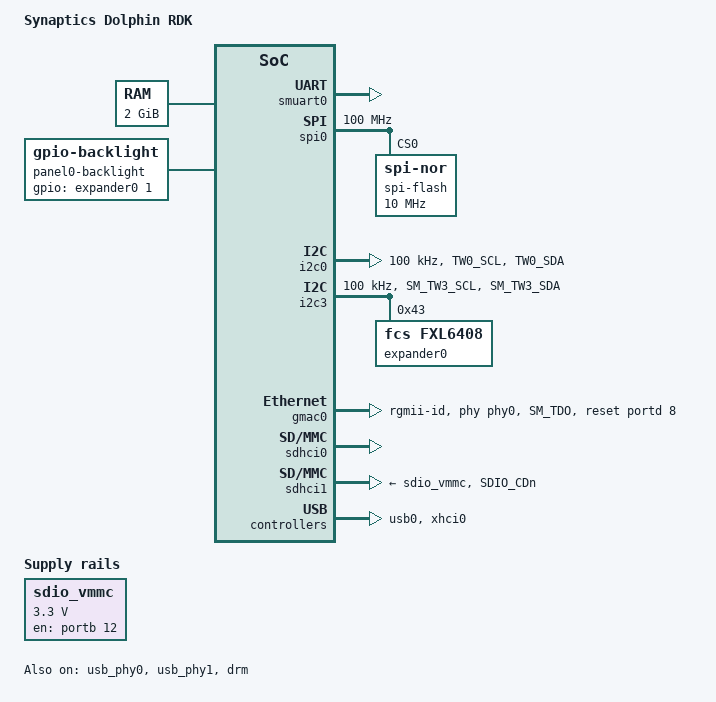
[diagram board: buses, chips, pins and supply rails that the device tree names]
// SPDX-License-Identifier: GPL-2.0+
/*
 * Copyright (C) 2016~2023 Synaptics Incorporated. All rights reserved.
 *
 * This program is free software; you can redistribute it and/or modify
 * it under the terms of the GNU General Public License version 2 or
 * later as published by the Free Software Foundation.
 *
 * INFORMATION CONTAINED IN THIS DOCUMENT IS PROVIDED "AS-IS," AND
 * SYNAPTICS EXPRESSLY DISCLAIMS ALL EXPRESS AND IMPLIED WARRANTIES,
 * INCLUDING ANY IMPLIED WARRANTIES OF MERCHANTABILITY AND FITNESS FOR
 * A PARTICULAR PURPOSE, AND ANY WARRANTIES OF NON-INFRINGEMENT OF ANY
 * INTELLECTUAL PROPERTY RIGHTS. IN NO EVENT SHALL SYNAPTICS BE LIABLE
 * FOR ANY DIRECT, INDIRECT, INCIDENTAL, SPECIAL, PUNITIVE, OR
 * CONSEQUENTIAL DAMAGES ARISING OUT OF OR IN CONNECTION WITH THE USE
 * OF THE INFORMATION CONTAINED IN THIS DOCUMENT, HOWEVER CAUSED AND
 * BASED ON ANY THEORY OF LIABILITY, WHETHER IN AN ACTION OF CONTRACT,
 * NEGLIGENCE OR OTHER TORTIOUS ACTION, AND EVEN IF SYNAPTICS WAS
 * ADVISED OF THE POSSIBILITY OF SUCH DAMAGE. IF A TRIBUNAL OF
 * COMPETENT JURISDICTION DOES NOT PERMIT THE DISCLAIMER OF DIRECT
 * DAMAGES OR ANY OTHER DAMAGES, SYNAPTICS' TOTAL CUMULATIVE LIABILITY
 * TO ANY PARTY SHALL NOT EXCEED ONE HUNDRED U.S. DOLLARS.
 */

/dts-v1/;

#include "dolphin.dtsi"
#include <dt-bindings/gpio/gpio.h>

/ {
	model = "Synaptics Dolphin RDK";
	compatible = "Synaptics,dolphin", "Synaptics,asserial";

	memory {
		device_type = "memory";
		reg = <0 0 0 0x80000000>;
	};

	chosen {
		stdout-path = &smuart0;
	};

	regulators {
		compatible = "simple-bus";
		#address-cells = <1>;
		#size-cells = <0>;

		sdio_vmmc: sdio_vmmc {
			pinctrl-0 = <&sdio_vmmc_pmux>;
			pinctrl-names = "default";
			compatible = "regulator-fixed";
			regulator-min-microvolt = <3300000>;
			regulator-max-microvolt = <3300000>;
			regulator-name = "vmmc_sdio";
			enable-active-high;
			gpio = <&portb 12 GPIO_ACTIVE_HIGH>;
		};
	};

	firmware {
		optee {
			compatible = "linaro,optee-tz";
			method = "smc";
		};
	};

	panel0-backlight {
		compatible = "gpio-backlight";
		gpios = <&expander0 1 GPIO_ACTIVE_HIGH>;
		status = "okay";
	};
};

&sysmgr_pinctrl {
	sm_i2c_tw3_pmux: sm_i2c_tw3_pmux {
		groups = "SM_TW3_SCL", "SM_TW3_SDA";
		function = "tw3";
	};

	gmac_reset_pmux: gmac_reset_pmux {
		groups = "SM_TDO";
		function = "gpio";
	};
};

&pinctrl {
	emmc_pmux: emmc-pmux {
		groups = "NAND_IO0", "NAND_IO1", "NAND_IO2", "NAND_IO3", "NAND_IO4", "NAND_IO5", "ND_IO6", "NAND_IO7", "NAND_ALE", "NAND_CLE", "NAND_WPn";
		function = "emmc";
	};

	sdio_pmux: sdio_pmux{
		groups = "SDIO_CDn";
		function = "sdio";
	};

	sdio_vmmc_pmux: sdio_vmmc_pmux{
		groups = "SDIO_WP";
		function = "gpio";
	};

	i2c0_pmux: i2c0-pmux {
		groups = "TW0_SCL", "TW0_SDA";
		function = "tw0";
	};

	hdmitx5v_pmux: hdmitx5v-pmux {
		groups = "USB2_DRV_VBUS";
		function = "gpio";
	};
};

&CPU_SLEEP_0 {
	status = "disabled";
};

&smuart0 {
	status = "okay";
};

&spi0 {
	status = "okay";
	max-write-size = <128>;
	clock-frequency = <100000000>;
	spi-flash@0 {
		#address-cells = <1>;
		#size-cells = <1>;
		compatible = "jedec,spi-nor";
		reg = <0>;
		memory-map = <0x0 0xf0000000 0x0 0x4000000>;
		spi-max-frequency = <10000000>;
	};
};

&phy0 {
	reg = <0>;
};

&i2c0 {
	status = "okay";
	pinctrl-names = "default";
	pinctrl-0 = <&i2c0_pmux>;
	clock-frequency = <100000>;
	i2c-sda-hold-time-ns = <449>;
	i2c-scl-rising-time-ns = <120>;
	i2c-scl-falling-time-ns = <20>;

};

&i2c3 {
	status = "okay";
	pinctrl-names = "default";
	pinctrl-0 = <&sm_i2c_tw3_pmux>;
	clock-frequency = <100000>;
	i2c-sda-hold-time-ns = <449>;
	i2c-scl-rising-time-ns = <120>;
	i2c-scl-falling-time-ns = <20>;

	expander0: gpio@43 {
		compatible = "fcs,fxl6408";
		reg = <0x43>;
		gpio-controller;
		#gpio-cells = <2>;
	};
};

&gmac0 {
	status = "okay";
	max-speed = <1000>;
	phy-mode = "rgmii-id";
	phy-handle = <&phy0>;
	phy = <&phy0>;
	pinctrl-names = "default";
	pinctrl-0 = <&gmac_reset_pmux>;
	snps,reset-gpio = <&portd 8 GPIO_ACTIVE_HIGH>;
	snps,reset-active-high;
	snps,reset-delays-us = <0 10000 50000>;
};

&sdhci0 {
	status = "okay";
	mmc-ddr-1_8v;
	mmc-hs200-1_8v;
	mmc-hs400-1_8v;
	fixed-voltage;
};

&sdhci1 {
	status="okay";
	pinctrl-0 = <&sdio_pmux>;
	pinctrl-names = "default";
	sdhci-sdio;
	cap-sd-highspeed;
	sd-uhs-sdr12;
	sd-uhs-sdr25;
	sd-uhs-sdr50;
	sd-uhs-sdr104;
	pad_sn = <12>;
	pad_sp = <12>;
	vmmc-supply = <&sdio_vmmc>;
};

&usb_phy0 {
	status = "okay";
};

&usb0 {
	status = "okay";
};

&usb_phy1 {
	status = "okay";
};

&xhci0 {
	status = "okay";
};

&drm {
	status = "okay";

	disp-mode = <2>;
	disp1-res-id = <13>;
	disp2-res-id = <102>;

	pinctrl-0 = <&hdmitx5v_pmux>;
	pinctrl-names = "default";
	hdtx5v-gpio = <&portb 23 GPIO_ACTIVE_HIGH>;

	dsi_panel {
		status= "okay";

		NO_OF_RESID =  <1>;
		DSI_RES =  <102>;

		ACTIVE_WIDTH = <800>;
		HFP = <70>;
		HSYNCWIDTH = <20>;
		HBP = <26>;
		ACTIVE_HEIGHT = <480>;
		VFP = <7>;
		VSYNCWIDTH = <2>;
		VBP = <21>;
		TYPE = <1>;
		SCAN = <0>;
		FRAME_RATE = <9>;
		FLAG_3D = <0>;
		FREQ = <28030>;
		PTS_PER_4 = <6000>;

		bits_per_pixel = <24>;
		busformat = <0>;

		VB_MIN = /bits/ 8 <6>;
		HB_MIN = /bits/ 8 <30>;
		V_OFF = /bits/ 8 <6>;
		H_OFF = /bits/ 8 <20>;
		HB_VOP_OFF = /bits/ 8 <8>;
		VB_VOP_OFF = /bits/ 8 <3>;
		HB_BE = /bits/ 8 <7>;
		VB_BE = /bits/ 8 <2>;
		VB_FP = /bits/ 8 <2>;
		HB_FP = /bits/ 8 <10>;
		PIXEL_CLOCK = <28030>;

		HTOTAL = <916>;
		Lanes = /bits/ 8 <1>;
		Vid_mode = /bits/ 8 <2>;
		virtual_chan = /bits/ 8 <0>;
		Clk_Lane_Polarity = /bits/ 8 <0>;
		Data_Lane_Polarity = /bits/ 8 <0>;
		Recv_ack = /bits/ 8 <0>;
		Loosely_18 = /bits/ 8 <0>;
		H_polarity = /bits/ 8 <1>;
		V_Polarity = /bits/ 8 <1>;
		Data_Polarity = /bits/ 8 <1>;
		Eotp_tx = /bits/ 8 <1>;
		Eotp_rx = /bits/ 8 <0>;
		non-Continuous_clk = /bits/ 8 <0>;
		dpi_lp_cmd = /bits/ 8 <1>;
		Color_coding = /bits/ 8 <5>;
		Chunks = <0>;
		Null_Pkt = <0>;
		Byte_clk = <84090>;
	};
};
